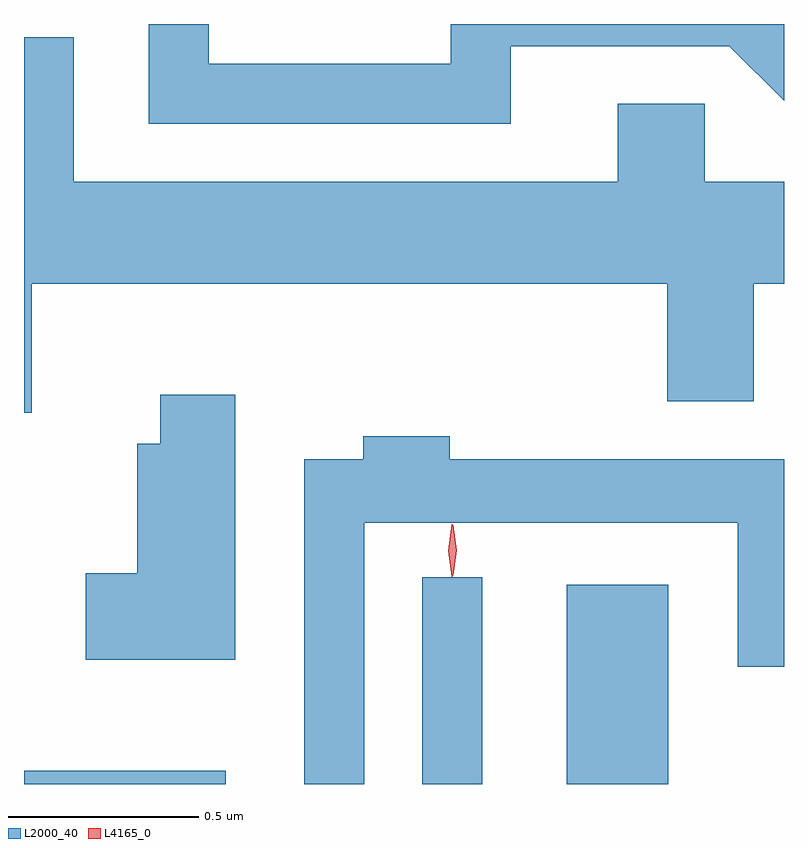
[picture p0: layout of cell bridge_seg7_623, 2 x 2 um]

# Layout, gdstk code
import gdstk
lib = gdstk.Library(unit=1e-6, precision=1e-09)
def R(c, l, rs):  # rectangles x0, y0, x1, y1
    for r in rs: c.add(gdstk.rectangle(r[:2], r[2:], *l))
def P(c, l, *ps):  # polygons
    for p in ps: c.add(gdstk.Polygon(p, *l))
L2000_40 = (2000, 40)
L4165_0 = (4165, 0)

bridge_seg7_623 = lib.new_cell('bridge_seg7_623')
R(bridge_seg7_623, L2000_40, [(636.368,1750.739,636.899,1750.774), (637.416,1750.739,637.574,1751.283), (637.796,1750.739,638.064,1751.264)])
P(bridge_seg7_623, L2000_40, [(637.649,1752.681),(638.224,1752.681),(638.368,1752.537),(638.368,1752.739),(637.491,1752.739),(637.491,1752.634),(636.854,1752.634),(636.854,1752.739),(636.696,1752.739),(636.696,1752.476),(637.649,1752.476)],
  [(636.389,1752.056),(638.061,1752.056),(638.061,1751.746),(638.289,1751.746),(638.289,1752.056),(638.368,1752.056),(638.368,1752.324),(638.159,1752.324),(638.159,1752.529),(637.931,1752.529),(637.931,1752.324),(636.499,1752.324),(636.499,1752.704),(636.368,1752.704),(636.368,1751.716),(636.389,1751.716)],
  [(636.924,1751.764),(636.726,1751.764),(636.726,1751.634),(636.666,1751.634),(636.666,1751.294),(636.531,1751.294),(636.531,1751.066),(636.924,1751.066)],
  [(637.264,1751.426),(638.246,1751.426),(638.246,1751.048),(638.368,1751.048),(638.368,1751.594),(637.489,1751.594),(637.489,1751.654),(637.261,1751.654),(637.261,1751.594),(637.106,1751.594),(637.106,1750.739),(637.264,1750.739)])
P(bridge_seg7_623, L4165_0, [(637.497,1751.287),(637.496,1751.288),(637.487,1751.354),(637.496,1751.42),(637.497,1751.421),(637.497,1751.42),(637.507,1751.354),(637.497,1751.288)],
  [(637.494,1751.284),(637.494,1751.284),(637.484,1751.353),(637.494,1751.422),(637.494,1751.423),(637.495,1751.422),(637.504,1751.353),(637.495,1751.284)])

lib.write_gds('bridge_seg7_623.gds')
